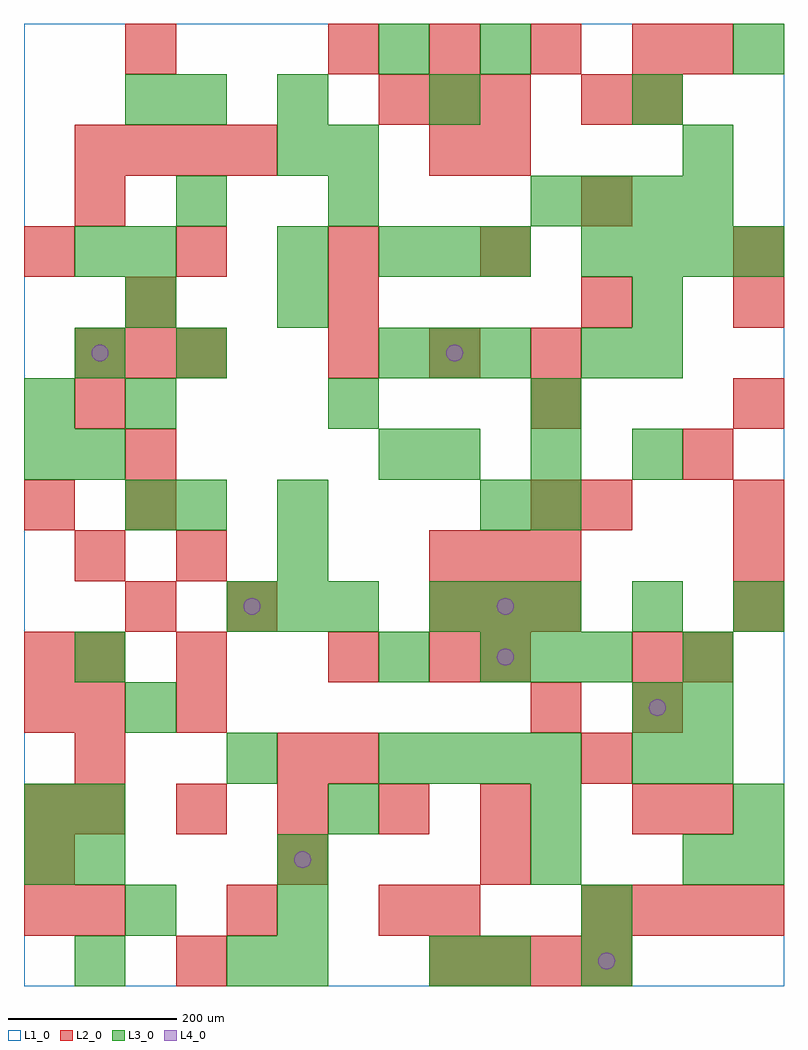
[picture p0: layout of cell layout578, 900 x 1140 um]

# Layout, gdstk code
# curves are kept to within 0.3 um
import gdstk
lib = gdstk.Library(unit=1e-6, precision=1e-09)
def R(c, l, rs):  # rectangles x0, y0, x1, y1
    for r in rs: c.add(gdstk.rectangle(r[:2], r[2:], *l))
def A(c, l, x, y, w, h, nx, ny, dx, dy):  # array of equal rectangles
    R(c, l, [(x+i*dx, y+j*dy, x+i*dx+w, y+j*dy+h) for i in range(nx) for j in range(ny)])
def P(c, l, *ps):  # polygons
    for p in ps: c.add(gdstk.Polygon(p, *l))
L1_0 = (1, 0)
L2_0 = (2, 0)
L3_0 = (3, 0)
L4_0 = (4, 0)

layout578 = lib.new_cell('layout578')
R(layout578, L1_0, [(0,0,900,1140)])
A(layout578, L2_0, 480, 0, 60, 60, 4, 1, 60, 0)
A(layout578, L2_0, 0, 60, 60, 60, 1, 3, 0, 60)
A(layout578, L2_0, 60, 60, 60, 60, 3, 1, 180, 0)
A(layout578, L2_0, 660, 60, 60, 60, 4, 1, 60, 0)
A(layout578, L2_0, 60, 180, 60, 60, 5, 1, 120, 0)
A(layout578, L2_0, 60, 240, 60, 60, 1, 3, 0, 60)
A(layout578, L2_0, 480, 420, 60, 60, 3, 2, 60, 60)
A(layout578, L2_0, 840, 420, 60, 60, 1, 3, 0, 60)
A(layout578, L2_0, 60, 720, 60, 60, 3, 1, 60, 0)
A(layout578, L2_0, 360, 720, 60, 60, 3, 1, 120, 0)
A(layout578, L2_0, 660, 780, 60, 60, 1, 3, 0, 120)
A(layout578, L2_0, 0, 840, 60, 60, 4, 1, 180, 0)
A(layout578, L2_0, 60, 960, 60, 60, 4, 1, 60, 0)
A(layout578, L2_0, 420, 1020, 60, 60, 3, 1, 60, 0)
A(layout578, L2_0, 360, 1080, 60, 60, 4, 1, 120, 0)
R(layout578, L2_0, [(180,0,240,60), (480,60,540,120), (300,120,360,180), (540,120,600,180), (720,180,780,240), (780,180,840,240), (300,240,360,300), (360,240,420,300), (660,240,720,300), (0,300,60,360), (180,300,240,360), (600,300,660,360), (720,300,780,360), (0,360,60,420), (180,360,240,420), (360,360,420,420), (480,360,540,420), (540,360,600,420), (720,360,780,420), (780,360,840,420), (120,420,180,480), (240,420,300,480), (60,480,120,540), (180,480,240,540), (0,540,60,600), (120,540,180,600), (600,540,660,600), (660,540,720,600), (120,600,180,660), (780,600,840,660), (60,660,120,720), (600,660,660,720), (840,660,900,720), (120,780,180,840), (360,780,420,840), (840,780,900,840), (840,840,900,900), (60,900,120,960), (480,960,540,1020), (540,960,600,1020), (720,1020,780,1080), (120,1080,180,1140), (780,1080,840,1140)])
A(layout578, L3_0, 300, 0, 60, 60, 1, 3, 0, 60)
A(layout578, L3_0, 540, 0, 60, 60, 1, 3, 0, 540)
A(layout578, L3_0, 120, 60, 60, 60, 1, 4, 0, 240)
A(layout578, L3_0, 360, 180, 60, 60, 3, 1, 240, 0)
A(layout578, L3_0, 420, 240, 60, 60, 4, 1, 60, 0)
A(layout578, L3_0, 780, 240, 60, 60, 1, 3, 0, 60)
A(layout578, L3_0, 540, 360, 60, 60, 3, 1, 60, 0)
A(layout578, L3_0, 240, 420, 60, 60, 3, 1, 60, 0)
A(layout578, L3_0, 480, 420, 60, 60, 3, 1, 60, 0)
A(layout578, L3_0, 180, 540, 60, 60, 1, 3, 0, 180)
A(layout578, L3_0, 60, 600, 60, 60, 1, 3, 0, 120)
A(layout578, L3_0, 480, 600, 60, 60, 3, 1, 120, 0)
A(layout578, L3_0, 120, 660, 60, 60, 3, 1, 240, 0)
A(layout578, L3_0, 420, 720, 60, 60, 3, 2, 60, 120)
A(layout578, L3_0, 660, 840, 60, 60, 4, 1, 60, 0)
A(layout578, L3_0, 600, 900, 60, 60, 4, 1, 60, 0)
R(layout578, L3_0, [(60,0,120,60), (240,0,300,60), (480,0,540,60), (660,0,720,60), (660,60,720,120), (0,120,60,180), (60,120,120,180), (600,120,660,180), (780,120,840,180), (840,120,900,180), (0,180,60,240), (60,180,120,240), (240,240,300,300), (720,240,780,300), (720,300,780,360), (60,360,120,420), (420,360,480,420), (720,420,780,480), (840,420,900,480), (300,480,360,540), (300,540,360,600), (600,540,660,600), (0,600,60,660), (420,600,480,660), (0,660,60,720), (660,720,720,780), (720,720,780,780), (300,780,360,840), (720,780,780,840), (120,840,180,900), (300,840,360,900), (360,900,420,960), (300,960,360,1020), (360,960,420,1020), (780,960,840,1020), (120,1020,180,1080), (180,1020,240,1080), (300,1020,360,1080), (480,1020,540,1080), (720,1020,780,1080), (420,1080,480,1140), (840,1080,900,1140)])
P(layout578, L4_0, [(100,750),(99.239,753.827),(97.071,757.071),(93.827,759.239),(90,760),(86.173,759.239),(82.929,757.071),(80.761,753.827),(80,750),(80.761,746.173),(82.929,742.929),(86.173,740.761),(90,740),(93.827,740.761),(97.071,742.929),(99.239,746.173)],
  [(280,450),(279.239,453.827),(277.071,457.071),(273.827,459.239),(270,460),(266.173,459.239),(262.929,457.071),(260.761,453.827),(260,450),(260.761,446.173),(262.929,442.929),(266.173,440.761),(270,440),(273.827,440.761),(277.071,442.929),(279.239,446.173)],
  [(340,150),(339.239,153.827),(337.071,157.071),(333.827,159.239),(330,160),(326.173,159.239),(322.929,157.071),(320.761,153.827),(320,150),(320.761,146.173),(322.929,142.929),(326.173,140.761),(330,140),(333.827,140.761),(337.071,142.929),(339.239,146.173)],
  [(520,750),(519.239,753.827),(517.071,757.071),(513.827,759.239),(510,760),(506.173,759.239),(502.929,757.071),(500.761,753.827),(500,750),(500.761,746.173),(502.929,742.929),(506.173,740.761),(510,740),(513.827,740.761),(517.071,742.929),(519.239,746.173)],
  [(580,390),(579.239,393.827),(577.071,397.071),(573.827,399.239),(570,400),(566.173,399.239),(562.929,397.071),(560.761,393.827),(560,390),(560.761,386.173),(562.929,382.929),(566.173,380.761),(570,380),(573.827,380.761),(577.071,382.929),(579.239,386.173)],
  [(580,450),(579.239,453.827),(577.071,457.071),(573.827,459.239),(570,460),(566.173,459.239),(562.929,457.071),(560.761,453.827),(560,450),(560.761,446.173),(562.929,442.929),(566.173,440.761),(570,440),(573.827,440.761),(577.071,442.929),(579.239,446.173)],
  [(700,30),(699.239,33.827),(697.071,37.071),(693.827,39.239),(690,40),(686.173,39.239),(682.929,37.071),(680.761,33.827),(680,30),(680.761,26.173),(682.929,22.929),(686.173,20.761),(690,20),(693.827,20.761),(697.071,22.929),(699.239,26.173)],
  [(760,330),(759.239,333.827),(757.071,337.071),(753.827,339.239),(750,340),(746.173,339.239),(742.929,337.071),(740.761,333.827),(740,330),(740.761,326.173),(742.929,322.929),(746.173,320.761),(750,320),(753.827,320.761),(757.071,322.929),(759.239,326.173)])

lib.write_gds('layout578.gds')
